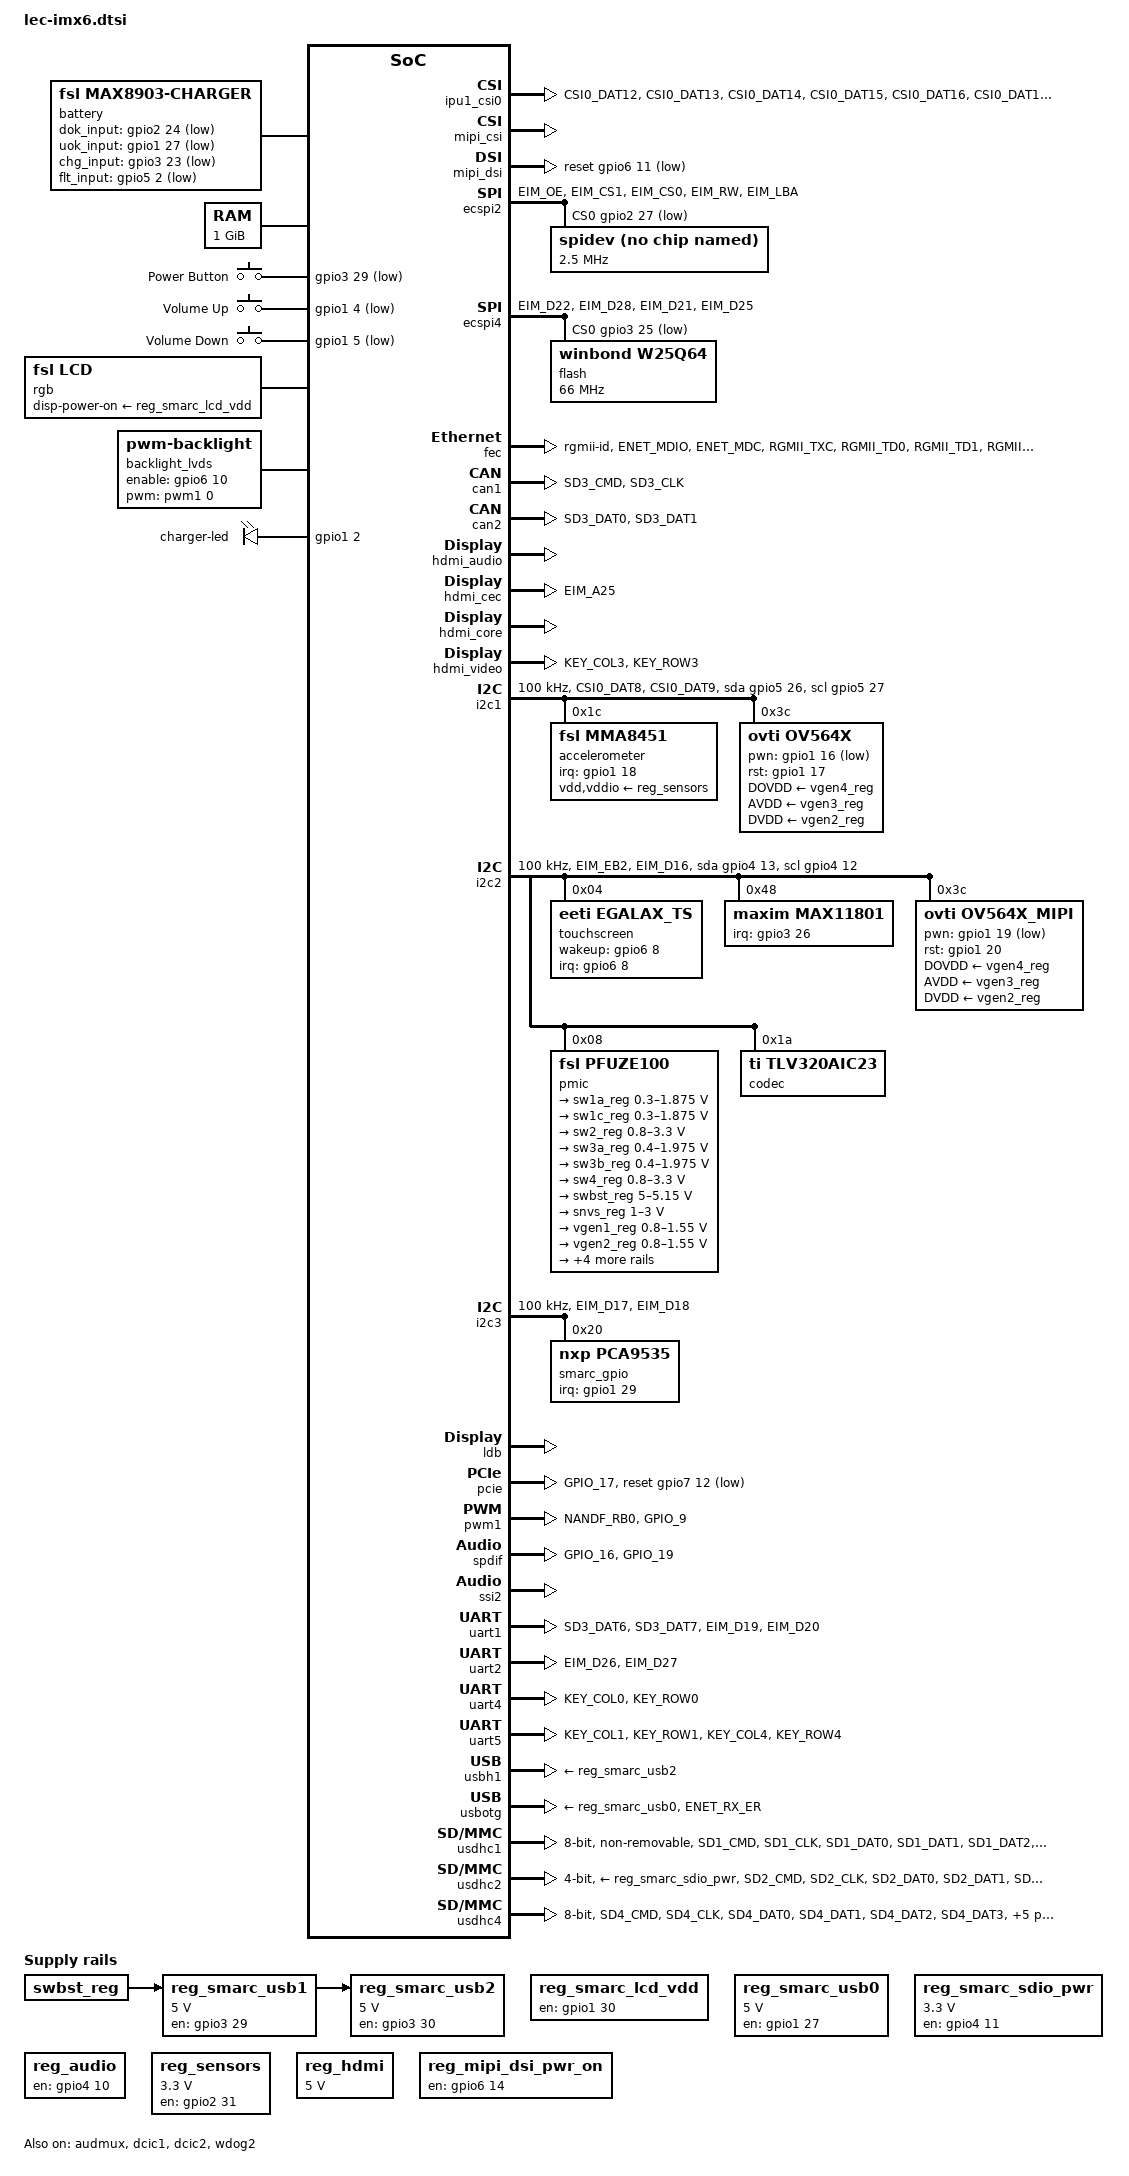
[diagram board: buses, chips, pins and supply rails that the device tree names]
// SPDX-License-Identifier: GPL-2.0+
//
// Copyright 2012 Freescale Semiconductor, Inc.
// Copyright 2011 Linaro Ltd.

/* On-module multiplexer: 0 enables SMARC SPI0, !=0 enables I2S0 instead:
 * 1=TI TLV320AIC23 on LEC-Base R1 carrier, 2=Freescale SGTL5000 on LEC-Base R2 */
#define CONFIG_I2S_AUDIO       1

#include <dt-bindings/clock/imx6qdl-clock.h>
#include <dt-bindings/gpio/gpio.h>
#include <dt-bindings/input/input.h>

/ {
	aliases {
		mxcfb0 = &mxcfb1;
		mxcfb1 = &mxcfb2;
		mxcfb2 = &mxcfb3;
	};

	chosen {
		stdout-path = &uart1;
	};

	battery: max8903@0 {
		compatible = "fsl,max8903-charger";
		pinctrl-names = "default";
		dok_input = <&gpio2 24 1>;
		uok_input = <&gpio1 27 1>;
		chg_input = <&gpio3 23 1>;
		flt_input = <&gpio5 2 1>;
		fsl,dcm_always_high;
		fsl,dc_valid;
		fsl,usb_valid;
		status = "okay";
	};

	memory: memory@10000000 {
		device_type = "memory";
		reg = <0x10000000 0x40000000>;
	};

	reg_smarc_lcd_vdd: regulator-smarc-lcd-vdd {
		compatible = "regulator-fixed";
		regulator-name = "smarc_lcd_vdd";
		gpio = <&gpio1 30 GPIO_ACTIVE_HIGH>; /* SMARC LCD_VDD_EN */
		enable-active-high;
		regulator-always-on; /* Freescale's fb/lcd/ldb drivers can't control a regulator yet :-( */
		regulator-state-mem { regulator-off-in-suspend; }; /* no effect? */
	};

	reg_smarc_usb0: regulator-smarc-usb0 {
		compatible = "regulator-fixed";
		regulator-name = "smarc_usb0";
		regulator-min-microvolt = <5000000>;
		regulator-max-microvolt = <5000000>;
		gpio = <&gpio1 27 GPIO_ACTIVE_HIGH>;	/* SMARC USB0_EN_OC# */
		enable-active-high;
	};

	reg_smarc_usb1: regulator-smarc-usb1 {
		compatible = "regulator-fixed";
		regulator-name = "smarc_usb1";
		regulator-min-microvolt = <5000000>;
		regulator-max-microvolt = <5000000>;
		gpio = <&gpio3 29 GPIO_ACTIVE_HIGH>;	/* SMARC USB1_EN_OC# */
		enable-active-high;
		/* Before enabling Vbus on the carrier power up the host phy's Vbus. */
		vin-supply = <&swbst_reg>;
	};

	reg_smarc_usb2: regulator-smarc-usb2 {
		compatible = "regulator-fixed";
		regulator-name = "smarc_usb2";
		regulator-min-microvolt = <5000000>;
		regulator-max-microvolt = <5000000>;
		gpio = <&gpio3 30 GPIO_ACTIVE_HIGH>; /* SMARC USB2_EN_OC# */
		enable-active-high;
		/* An on-module hub splits the i.MX6's usbh1 port into SMARC USB1 and 2.
		 * Devices on both are powered independently, via reg_smarc_usb1 and 2.
		 * But I've seen no way to model the hub in the device tree and usbh1
		 * takes only 1 "vbus-supply" line. So by declaring one as vin-supply
		 * for the other we trick usbh1 into enabling both. If someone needed to
		 * enable them separately they'd have to do it manually in user mode. */
		vin-supply = <&reg_smarc_usb1>;
	};

	reg_smarc_sdio_pwr: regulator-smarc-sdio-pwr {
		compatible = "regulator-fixed";
		regulator-name = "smarc_sdio_pwr";
		regulator-min-microvolt = <3300000>;
		regulator-max-microvolt = <3300000>;
		gpio = <&gpio4 11 GPIO_ACTIVE_HIGH>; /* SMARC SDIO_PWR_EN */
		enable-active-high;
		regulator-boot-on;
	};

	reg_audio: regulator-audio {
		compatible = "regulator-fixed";
		regulator-name = "wm8962-supply";
		gpio = <&gpio4 10 GPIO_ACTIVE_HIGH>;
		enable-active-high;
	};

	reg_sensors: regulator-sensors {
		compatible = "regulator-fixed";
		pinctrl-names = "default";
		pinctrl-0 = <&pinctrl_sensors_reg>;
		regulator-name = "sensors-supply";
		regulator-min-microvolt = <3300000>;
		regulator-max-microvolt = <3300000>;
		gpio = <&gpio2 31 GPIO_ACTIVE_HIGH>;
		enable-active-high;
	};

#if CONFIG_I2S_AUDIO == 2
	/* Power supplies on the LEC-Base R2 carrier. They cannot be
	 * controlled, but the SGTL5000 driver won't work without
	 * regulator definitions. */
	reg_base_1v8: regulator-base-1v8 {
		compatible = "regulator-fixed";
		regulator-name = "base_1v8";
		regulator-min-microvolt = <1800000>;
		regulator-max-microvolt = <1800000>;
		regulator-boot-on;
		regulator-always-on;
	};

	reg_base_3v3: regulator-base-3v3 {
		compatible = "regulator-fixed";
		regulator-name = "base_3v3";
		regulator-min-microvolt = <3300000>;
		regulator-max-microvolt = <3300000>;
		regulator-boot-on;
		regulator-always-on;
	};
#endif

    reg_hdmi: regulator-hdmi {
		compatible = "regulator-fixed";
		regulator-name = "hdmi-5v-supply";
		regulator-min-microvolt = <5000000>;
		regulator-max-microvolt = <5000000>;
		enable-active-high;
		hdmi-5v-supply = <&swbst_reg>;
    };

	reg_mipi_dsi_pwr_on: mipi_dsi_pwr_on {
		compatible = "regulator-fixed";
		regulator-name = "mipi_dsi_pwr_on";
		gpio = <&gpio6 14 0>;
		enable-active-high;
	};

	gpio-keys {
		compatible = "gpio-keys";
		pinctrl-names = "default";
		pinctrl-0 = <&pinctrl_gpio_keys>;

		power {
			label = "Power Button";
			gpios = <&gpio3 29 GPIO_ACTIVE_LOW>;
			wakeup-source;
			linux,code = <KEY_POWER>;
		};

		volume-up {
			label = "Volume Up";
			gpios = <&gpio1 4 GPIO_ACTIVE_LOW>;
			wakeup-source;
			linux,code = <KEY_VOLUMEUP>;
		};

		volume-down {
			label = "Volume Down";
			gpios = <&gpio1 5 GPIO_ACTIVE_LOW>;
			wakeup-source;
			linux,code = <KEY_VOLUMEDOWN>;
		};
	};

#if CONFIG_I2S_AUDIO == 1
	sound-i2s {     /* Audio codec on LEC-Base R1 carrier */
		compatible = "fsl,imx-audio-tlv320aic23";
		model = "imx-tlv320aic23";
		ssi-controller = <&ssi2>;
		mux-int-port = <2>;
		mux-ext-port = <3>;
		audio-codec = <&codec>;
	};
#elif CONFIG_I2S_AUDIO == 2
	sound-i2s {     /* Audio codec on LEC-Base R2 carrier */
		compatible = "fsl,imx-audio-sgtl5000";
		model = "imx-sgtl5000";
		ssi-controller = <&ssi2>;
		mux-int-port = <2>;
		mux-ext-port = <3>;
		audio-codec = <&codec>;
		asrc-controller = <&asrc>;
		audio-routing =
			"MIC_IN", "Mic Jack",
			"Mic Jack", "Mic Bias",
			"LINE_IN", "Line In Jack",
			//      "Headphone Jack", "HP_OUT",
			"Line Out Jack", "LINE_OUT";
	};
#endif

	sound-hdmi {
		compatible = "fsl,imx6q-audio-hdmi",
			     "fsl,imx-audio-hdmi";
		model = "imx-audio-hdmi";
		hdmi-controller = <&hdmi_audio>;
	};

	sound-spdif {
		compatible = "fsl,imx-audio-spdif";
		model = "imx-spdif";
		spdif-controller = <&spdif>;
		spdif-in;
		spdif-out;
	};

	mxcfb1: fb@0 {	/* IPU1 DI1: /dev/fb0=HDMI, fb1=IPU1's overlay */
		compatible = "fsl,mxc_sdc_fb";
		disp_dev = "hdmi";
		interface_pix_fmt = "RGB24";
		mode_str ="1920x1080M@60";
		default_bpp = <32>;
		int_clk = <0>;
		late_init = <0>;
		status = "okay";
	};

	mxcfb2: fb@1 {	/* IPU1 DI0: /dev/fb2=parallel RGB */
		compatible = "fsl,mxc_sdc_fb";
		disp_dev = "lcd";
		interface_pix_fmt = "RGB24";
		mode_str ="CLAA-WVGA";
		default_bpp = <32>;
		int_clk = <0>;
		late_init = <0>;
		status = "okay";
	};

	mxcfb3: fb@2 {	/* IPU2 DI0: /dev/fb3=LVDS, fb4=IPU2's overlay
			* Solo/DL: IPU1, fb2 competing with par. RGB, no overlay */
		compatible = "fsl,mxc_sdc_fb";
		disp_dev = "ldb";
		interface_pix_fmt = "RGB24";
		default_bpp = <32>;
		int_clk = <0>;
		late_init = <0>;
		status = "okay";
	};

	rgb: lcd@0 {	/* parallel RGB (see fb above) */
		compatible = "fsl,lcd";
		ipu_id = <0>;
		disp_id = <0>;
		default_ifmt = "RGB24";
		pinctrl-names = "default";
		pinctrl-0 = <&pinctrl_ipu1>;
		disp-power-on-supply = <&reg_smarc_lcd_vdd>; /* unsupported by driver */
		status = "okay";
	};

	backlight_lvds: backlight-lvds {
		compatible = "pwm-backlight";
		pwms = <&pwm1 0 5000000>;
		brightness-levels = <0 4 8 16 32 64 128 255>;
		default-brightness-level = <6>;
		enable-gpios = <&gpio6 10 GPIO_ACTIVE_HIGH>; /* SMARC LCD_BKLT_EN */
		status = "okay";
	};

	leds {
		compatible = "gpio-leds";
		pinctrl-names = "default";
		pinctrl-0 = <&pinctrl_gpio_leds>;

		charger-led {
			gpios = <&gpio1 2 0>;
			linux,default-trigger = "max8903-charger-charging";
			retain-state-suspended;
			default-state = "off";
		};
	};

	v4l2_cap_0 {
		compatible = "fsl,imx6q-v4l2-capture";
		ipu_id = <0>;
		csi_id = <0>;
		mclk_source = <0>;
		status = "okay";
	};

	v4l2_cap_1 {
		compatible = "fsl,imx6q-v4l2-capture";
		ipu_id = <0>;
		csi_id = <1>;
		mclk_source = <0>;
		status = "okay";
	};

	v4l2_out {
		compatible = "fsl,mxc_v4l2_output";
		status = "okay";
	};
};

&ipu1_csi0_from_ipu1_csi0_mux {
	bus-width = <8>;
	data-shift = <12>; /* Lines 19:12 used */
	hsync-active = <1>;
	vsync-active = <1>;
};

&ipu1_csi0_mux_from_parallel_sensor {
#if 0
	remote-endpoint = <&ov5642_to_ipu1_csi0_mux>;
#endif
};

&ipu1_csi0 {
	pinctrl-names = "default";
	pinctrl-0 = <&pinctrl_ipu1_csi0>;
};

&mipi_csi {
	status = "okay";

	ipu_id = <0>;
	csi_id = <1>;
	v_channel = <0>;
	lanes = <2>;
#if 0
	port@0 {
		reg = <0>;

		mipi_csi2_in: endpoint {
			remote-endpoint = <&ov5640_to_mipi_csi2>;
			clock-lanes = <0>;
			data-lanes = <1 2>;
		};
	};
#endif
};

&mipi_dsi {
        dev_id = <0>;
        disp_id = <1>;
        lcd_panel = "TRULY-WVGA";
        disp-power-on-supply = <&reg_mipi_dsi_pwr_on>;
        reset-gpios = <&gpio6 11 GPIO_ACTIVE_LOW>;
        reset-delay-us = <50>;
        status = "okay";
};

#if CONFIG_I2S_AUDIO
&audmux {	/* SMARC I2S0 (instead of SPI0) */
	pinctrl-names = "default";
	pinctrl-0 = <&pinctrl_audmux>;
	pinctrl-assert-gpios = <&gpio1 3 GPIO_ACTIVE_HIGH>; /* AEN# */
	status = "okay";
};
#endif

&clks {
	assigned-clocks = <&clks IMX6QDL_CLK_LDB_DI0_SEL>,	/*LVDS*/
			  <&clks IMX6QDL_CLK_LDB_DI1_SEL>;	/*unused*/
	assigned-clock-parents = <&clks IMX6QDL_CLK_PLL2_PFD0_352M>,
				 <&clks IMX6QDL_CLK_PLL2_PFD0_352M>;
};

&dcic1 {
	dcic_id = <0>;
	dcic_mux = "dcic-hdmi";
	status = "okay";
};

&dcic2 {
	dcic_id = <1>;
	dcic_mux = "dcic-lvds0";
	status = "okay";
};

#if !CONFIG_I2S_AUDIO
&ecspi1 {	/* SMARC SPI0 (instead of I2S0) */
	fsl,spi-num-chipselects = <2>;
	cs-gpios = <&gpio5 25 GPIO_ACTIVE_LOW>, /* SMARC CS0 */
		   <&gpio3 24 GPIO_ACTIVE_LOW>; /* SMARC CS1 */
	pinctrl-names = "default";
	pinctrl-0 = <&pinctrl_ecspi1>;
	pinctrl-assert-gpios = <&gpio1 3 GPIO_ACTIVE_LOW>; /* AEN# */
	status = "okay";

	tsc2046@0 {             /* Touch screen controller on LEC-Base R1 carrier */
		compatible = "ti,tsc2046";
		reg = <0>;
		vcc-supply = <&reg_smarc_lcd_vdd>;
		spi-max-frequency = <2500000>;
		interrupt-parent = <&smarc_gpio>;
		interrupts = <10 IRQ_TYPE_EDGE_FALLING>; /* SMARC GPIO10 */
		pendown-gpio = <&smarc_gpio 10 GPIO_ACTIVE_LOW>;
		ti,vref-mv = /bits/ 16 <3300>;
	};
};
#endif

&ecspi2 {	/* SMARC SPI1 */
	fsl,spi-num-chipselects = <2>;
	cs-gpios = <&gpio2 27 GPIO_ACTIVE_LOW>, /* SMARC CS0 */
		<&gpio2 26 GPIO_ACTIVE_LOW>; /* SMARC CS1 */
	pinctrl-names = "default";
	pinctrl-0 = <&pinctrl_ecspi2>;
	status = "okay";

	spidev:spidev@0 {
		status = "okay";
		compatible = "linux,spidev";
		spi-max-frequency = <2500000>;
		reg = <0>;
	};
};

&ecspi4 {	/* on-module U-Boot SPI */
	fsl,spi-num-chipselects = <1>;
	cs-gpios = <&gpio3 25 GPIO_ACTIVE_LOW>;
	pinctrl-names = "default";
	pinctrl-0 = <&pinctrl_ecspi4>;
	fsl,clk-workaround-freq = <30000000>;
	status = "okay";

	flash: m25p80@0 {
		#address-cells = <1>;
		#size-cells = <1>;
		compatible = "winbond,w25q64";
		spi-max-frequency = <66000000>; /* slowest we used was SST25VF032B; i.MX6 provides 60MHz max */
		reg = <0>;
		m25p,fast-read;
	};
};

&fec {
	pinctrl-names = "default";
	pinctrl-0 = <&pinctrl_enet>;
	phy-mode = "rgmii-id";
	phy-reset-gpios = <&gpio1 25 GPIO_ACTIVE_LOW>;	/* RGMII_nRST */
	/* Can't power off phy because sw2_reg is permanently needed. We could
	 * turn off i.MX6's NVCC_RGMII (I/O voltage) only, but that's risky when
	 * the phy remains powered. */
	//phy-supply = <&vgen1_reg>;
	fsl,magic-packet;
	status = "okay";
};

&can1 {
	pinctrl-names = "default";
	pinctrl-0 = <&pinctrl_flexcan1>;
	//trx-nerr-gpio = <&smarc_gpio 8 GPIO_ACTIVE_LOW>; /* SMARC GPIO8/CAN0_ERR#, unused on LEC-Base carrier */
	//trx-stby-gpio = <&carrier_misc_control 1 GPIO_ACTIVE_HIGH>; /* CAN1_STB, solder jumper not populated */
	status = "okay";
};

&can2 {
	pinctrl-names = "default";
	pinctrl-0 = <&pinctrl_flexcan2>;
	//trx-nerr-gpio = <&smarc_gpio 9 GPIO_ACTIVE_LOW>; /* SMARC GPIO9/CAN1_ERR#, unused on LEC-Base carrier */
	//trx-stby-gpio = <&carrier_misc_control 2 GPIO_ACTIVE_HIGH>; /* CAN2_STB, solder jumper not populated */
	status = "okay";
};

&gpc {
	fsl,ldo-bypass = <1>;
};

&hdmi_audio {
	status = "okay";
};

&hdmi_cec {
	pinctrl-names = "default";
	pinctrl-0 = <&pinctrl_hdmi_cec>;
	status = "okay";
};

&hdmi_core {	/* HDMI (see fb above) */
	ipu_id = <0>;
	disp_id = <1>;
	status = "okay";
};

&hdmi_video {
	fsl,phy_reg_vlev = <0x294>;
	fsl,phy_reg_cksymtx = <0x800d>;
	pinctrl-names = "default";
	pinctrl-0 = <&pinctrl_hdmi_hdcp>;
	fsl,hdcp; /* also means we use the dedicated DDC function */
	fsl,phy_reg_vlev = <0x03f4>;
	fsl,phy_reg_cksymtx = <0x800f>;
	/* In the list of predefined video modes include any provided by the
	 * monitor's EDID data instead of only a few found in mxc_edid.c:
	 * mxc_cea_mode[].
	 * With this enabled we got an HDMI TV's native resolution instead of a
	 * blurry interpolated image. On the downside HDMI audio sounded
	 * distorted and parallel RGB, which shared the same i.MX6 IPU, then
	 * failed to work properly. We don't know if this is an i.MX6 hardware
	 * limitation or a bug in Freescale's driver. Regardless of this option
	 * fbset can set any timing manually. */
	//fsl,allow-all-modes;
	HDMI-supply = <&reg_hdmi>;
	status = "okay";
};

&i2c1 {
	clock-frequency = <100000>;
	pinctrl-names = "default", "gpio";
	pinctrl-0 = <&pinctrl_i2c1>;
	pinctrl-1 = <&pinctrl_i2c1_gpio>;
	scl-gpios = <&gpio5 27 GPIO_ACTIVE_HIGH>;
	sda-gpios = <&gpio5 26 GPIO_ACTIVE_HIGH>;
	status = "okay";

	accelerometer@1c {
		compatible = "fsl,mma8451";
		reg = <0x1c>;
		pinctrl-names = "default";
		pinctrl-0 = <&pinctrl_i2c1_mma8451_int>;
		interrupt-parent = <&gpio1>;
		interrupts = <18 IRQ_TYPE_LEVEL_LOW>;
		vdd-supply = <&reg_sensors>;
		vddio-supply = <&reg_sensors>;
	};

#if 0
	ov5642: camera@3c {
		compatible = "ovti,ov5642";
		pinctrl-names = "default";
		pinctrl-0 = <&pinctrl_ov5642>;
		clocks = <&clks IMX6QDL_CLK_CKO>;
		clock-names = "xclk";
		reg = <0x3c>;
		DOVDD-supply = <&vgen4_reg>; /* 1.8v */
		AVDD-supply = <&vgen3_reg>;  /* 2.8v, rev C board is VGEN3
						rev B board is VGEN5 */
		DVDD-supply = <&vgen2_reg>;  /* 1.5v*/
		powerdown-gpios = <&gpio1 16 GPIO_ACTIVE_HIGH>;
		reset-gpios = <&gpio1 17 GPIO_ACTIVE_LOW>;
		status = "disabled";

		port {
			ov5642_to_ipu1_csi0_mux: endpoint {
				remote-endpoint = <&ipu1_csi0_mux_from_parallel_sensor>;
				bus-width = <8>;
				hsync-active = <1>;
				vsync-active = <1>;
			};
		};
	};
#endif
	ov564x: ov564x@3c {
		compatible = "ovti,ov564x";
		reg = <0x3c>;
		pinctrl-names = "default";
		pinctrl-0 = <&pinctrl_ipu1_2>;
		clocks = <&clks IMX6QDL_CLK_CKO>;
		clock-names = "csi_mclk";
		DOVDD-supply = <&vgen4_reg>; /* 1.8v */
		AVDD-supply = <&vgen3_reg>;  /* 2.8v, on rev C board is VGEN3, on rev B board is VGEN5 */
		DVDD-supply = <&vgen2_reg>;  /* 1.5v*/
		pwn-gpios = <&gpio1 16 1>;   /* active low: SD1_DAT0 */
		rst-gpios = <&gpio1 17 0>;   /* active high: SD1_DAT1 */
		csi_id = <0>;
		mclk = <24000000>;
		mclk_source = <0>;
	};
};

&i2c2 {
	clock-frequency = <100000>;
	pinctrl-names = "default", "gpio";
	pinctrl-0 = <&pinctrl_i2c2>;
	pinctrl-1 = <&pinctrl_i2c2_gpio>;
	scl-gpios = <&gpio4 12 GPIO_ACTIVE_HIGH>;
	sda-gpios = <&gpio4 13 GPIO_ACTIVE_HIGH>;
	status = "okay";

	touchscreen@4 {
		compatible = "eeti,egalax_ts";
		reg = <0x04>;
		pinctrl-names = "default";
		pinctrl-0 = <&pinctrl_i2c2_egalax_int>;
		interrupt-parent = <&gpio6>;
		interrupts = <8 IRQ_TYPE_EDGE_FALLING>;
		wakeup-gpios = <&gpio6 8 GPIO_ACTIVE_HIGH>;
	};

	max11801@48 {
		compatible = "maxim,max11801";
		reg = <0x48>;
		interrupt-parent = <&gpio3>;
		interrupts = <26 2>;
		work-mode = <1>;/*DCM mode*/
	};

#if 0
	ov5640: camera@3c {
		compatible = "ovti,ov5640";
		pinctrl-names = "default";
		pinctrl-0 = <&pinctrl_ov5640>;
		reg = <0x3c>;
		clocks = <&clks IMX6QDL_CLK_CKO>;
		clock-names = "xclk";
		DOVDD-supply = <&vgen4_reg>; /* 1.8v */
		AVDD-supply = <&vgen3_reg>;  /* 2.8v, rev C board is VGEN3
						rev B board is VGEN5 */
		DVDD-supply = <&vgen2_reg>;  /* 1.5v*/
		powerdown-gpios = <&gpio1 19 GPIO_ACTIVE_HIGH>;
		reset-gpios = <&gpio1 20 GPIO_ACTIVE_LOW>;

		port {
			ov5640_to_mipi_csi2: endpoint {
				remote-endpoint = <&mipi_csi2_in>;
				clock-lanes = <0>;
				data-lanes = <1 2>;
			};
		};
	};
#endif

	ov564x_mipi: ov564x_mipi@3c { /* i2c2 driver */
		compatible = "ovti,ov564x_mipi";
		reg = <0x3c>;
		clocks = <&clks IMX6QDL_CLK_CKO>;
		clock-names = "csi_mclk";
		DOVDD-supply = <&vgen4_reg>; /* 1.8v */
		AVDD-supply = <&vgen3_reg>;  /* 2.8v rev C board is VGEN3 rev B board is VGEN5 */
		DVDD-supply = <&vgen2_reg>;  /* 1.5v*/
		pwn-gpios = <&gpio1 19 1>;   /* active low: SD1_CLK */
		rst-gpios = <&gpio1 20 0>;   /* active high: SD1_DAT2 */
		csi_id = <1>;
		mclk = <24000000>;
		mclk_source = <0>;
	};

	pmic: pfuze100@8 {
		compatible = "fsl,pfuze100";
		reg = <0x08>;

		regulators {
			sw1a_reg: sw1ab {
				regulator-min-microvolt = <300000>;
				regulator-max-microvolt = <1875000>;
				regulator-boot-on;
				regulator-always-on;
				regulator-ramp-delay = <6250>;
			};

			sw1c_reg: sw1c {
				regulator-min-microvolt = <300000>;
				regulator-max-microvolt = <1875000>;
				regulator-boot-on;
				regulator-always-on;
				regulator-ramp-delay = <6250>;
			};

			sw2_reg: sw2 {
				regulator-min-microvolt = <800000>;
				regulator-max-microvolt = <3300000>;
				regulator-boot-on;
				regulator-always-on;
				regulator-ramp-delay = <6250>;
			};

			sw3a_reg: sw3a {
				regulator-min-microvolt = <400000>;
				regulator-max-microvolt = <1975000>;
				regulator-boot-on;
				regulator-always-on;
			};

			sw3b_reg: sw3b {
				regulator-min-microvolt = <400000>;
				regulator-max-microvolt = <1975000>;
				regulator-boot-on;
				regulator-always-on;
			};

			sw4_reg: sw4 {
				regulator-min-microvolt = <800000>;
				regulator-max-microvolt = <3300000>;
				regulator-always-on;
			};

			swbst_reg: swbst {
				regulator-min-microvolt = <5000000>;
				regulator-max-microvolt = <5150000>;
			};

			snvs_reg: vsnvs {
				regulator-min-microvolt = <1000000>;
				regulator-max-microvolt = <3000000>;
				regulator-boot-on;
				regulator-always-on;
			};

			vref_reg: vrefddr {
				regulator-boot-on;
				regulator-always-on;
			};

			vgen1_reg: vgen1 {
				regulator-min-microvolt = <800000>;
				regulator-max-microvolt = <1550000>;
			};

			vgen2_reg: vgen2 {
				regulator-min-microvolt = <800000>;
				regulator-max-microvolt = <1550000>;
			};

			vgen3_reg: vgen3 {
				regulator-min-microvolt = <1800000>;
				regulator-max-microvolt = <3300000>;
			};

			vgen4_reg: vgen4 {
				regulator-min-microvolt = <1800000>;
				regulator-max-microvolt = <3300000>;
				regulator-always-on;
			};

			vgen5_reg: vgen5 {
				regulator-min-microvolt = <1800000>;
				regulator-max-microvolt = <3300000>;
				regulator-always-on;
			};

			vgen6_reg: vgen6 {
				regulator-min-microvolt = <1800000>;
				regulator-max-microvolt = <3300000>;
				regulator-always-on;
			};
		};
	};

#if CONFIG_I2S_AUDIO == 1
	codec: tlv320aic23@1a {         /* Audio codec on LEC-Base R1 carrier */
		compatible = "ti,tlv320aic23";
		reg = <0x1a>;
		clocks = <&clks IMX6QDL_CLK_CKO>; /* SMARC AUDIO_MCK, actually unused on carrier */
		status = "okay";
	};
#endif

#if CONFIG_I2S_AUDIO == 2
	codec: sgtl5000@0a {            /* Audio codec on LEC-Base R2 carrier */
		compatible = "fsl,sgtl5000";
		reg = <0x0a>;
		clocks = <&clks IMX6QDL_CLK_CKO>; /* SMARC AUDIO_MCK, actually unused on carrier */
		VDDA-supply = <&reg_base_3v3>;
		VDDIO-supply = <&reg_base_1v8>;
		VDDD-supply = <&reg_base_1v8>;
		micbias-resistor-k-ohms = <4>;
		micbias-voltage-m-volts = <1250>;
	};
#endif

};

&i2c3 {
	clock-frequency = <100000>;
	pinctrl-names = "default";
	pinctrl-0 = <&pinctrl_i2c3>;
	status = "okay";

	smarc_gpio: pca9535@20 {	/* GPIO expander */
		/* GPIOs 4-6, 8-11 map directly to the SMARC connector's GPIOx.
		 * GPIOs 0-3, 7 are unused unless a solder jumper is changed, per default
		 * SMARC GPIO0-3,7 are provided by the i.MX6 (CAM0/1_PWR/RST#,PCAM_FLD). */
		compatible = "nxp,pca9535";
		reg = <0x20>;
		interrupt-parent = <&gpio1>;
		interrupts = <29 IRQ_TYPE_LEVEL_LOW>; /* GPIO_INT_B */
		gpio-controller;
		#gpio-cells = <2>;
		interrupt-controller;
		#interrupt-cells = <2>;
	};
};

&iomuxc {
	pinctrl-names = "default";
	pinctrl-0 = <&pinctrl_hog>;

	lec-imx6 {
		pinctrl_hog: hoggrp {
			fsl,pins = <
				MX6QDL_PAD_GPIO_0__CCM_CLKO1    0x130b0
				MX6QDL_PAD_NANDF_CLE__GPIO6_IO07 0x1b0b0
				MX6QDL_PAD_ENET_TXD1__GPIO1_IO29 0x80000000 /* GPIO_INT_B */
				MX6QDL_PAD_ENET_TXD0__GPIO1_IO30 0x80000000 /* SMARC LCD_VDD_EN */
				MX6QDL_PAD_ENET_RXD0__GPIO1_IO27 0x80000000 /* SMARC USB0_EN_OC# (open-drain) */
				MX6QDL_PAD_EIM_D29__GPIO3_IO29	0x1a8b0 /* SMARC USB1_EN_OC# (open-drain) */
				MX6QDL_PAD_EIM_D30__GPIO3_IO30	0x1a8b0 /* SMARC USB2_EN_OC# (open-drain) */
				MX6QDL_PAD_KEY_ROW2__GPIO4_IO11	0x80000000 /* SMARC SDIO_PWR_EN */
				MX6QDL_PAD_EIM_D23__GPIO3_IO23 0x80000000
				MX6QDL_PAD_SD3_RST__GPIO7_IO08 0x80000000
				MX6QDL_PAD_NANDF_CS0__GPIO6_IO11 0x80000000
			>;
		};

#if CONFIG_I2S_AUDIO
		pinctrl_audmux: audmuxgrp {	/* SMARC I2S0 (instead of SPI0) */
			fsl,pins = <
				MX6QDL_PAD_CSI0_DAT7__AUD3_RXD		0x130b0
				MX6QDL_PAD_CSI0_DAT4__AUD3_TXC		0x130b0
				MX6QDL_PAD_CSI0_DAT5__AUD3_TXD		0x110b0
				MX6QDL_PAD_CSI0_DAT6__AUD3_TXFS		0x130b0
			>;
		};
#else
		pinctrl_ecspi1: ecspi1grp {
			fsl,pins = <    /* SMARC SPI0 (instead of I2S0) */
				MX6QDL_PAD_CSI0_DAT6__ECSPI1_MISO       0x100b1
				MX6QDL_PAD_CSI0_DAT5__ECSPI1_MOSI       0x100b1
				MX6QDL_PAD_CSI0_DAT4__ECSPI1_SCLK       0x100b1
				MX6QDL_PAD_CSI0_DAT7__GPIO5_IO25        0x1b0b0 /* SMARC CS0 */
				MX6QDL_PAD_EIM_D24__GPIO3_IO24          0x1b0b0 /* SMARC CS1 */
			>;
		};
#endif

		pinctrl_ecspi2: ecspi2grp {
			fsl,pins = <	/* SMARC SPI1 */
				MX6QDL_PAD_EIM_OE__ECSPI2_MISO          0x100b1
				MX6QDL_PAD_EIM_CS1__ECSPI2_MOSI         0x100b1
				MX6QDL_PAD_EIM_CS0__ECSPI2_SCLK         0x100b1
				MX6QDL_PAD_EIM_RW__GPIO2_IO26           0x1b0b0 /* SMARC CS1 */
				MX6QDL_PAD_EIM_LBA__GPIO2_IO27          0x1b0b0 /* SMARC CS0 */
			>;
		};

		pinctrl_ecspi4: ecspi4grp {
			fsl,pins = <	/* on-module U-Boot SPI */
				MX6QDL_PAD_EIM_D22__ECSPI4_MISO         0x100b1
				MX6QDL_PAD_EIM_D28__ECSPI4_MOSI         0x100b1
				MX6QDL_PAD_EIM_D21__ECSPI4_SCLK         0x100b1
				MX6QDL_PAD_EIM_D25__GPIO3_IO25          0x1b0b0 /* CS3 */
			>;
		};

		pinctrl_enet: enetgrp {
			fsl,pins = <
				MX6QDL_PAD_ENET_MDIO__ENET_MDIO		0x1b0b0
				MX6QDL_PAD_ENET_MDC__ENET_MDC		0x1b0b0
				MX6QDL_PAD_RGMII_TXC__RGMII_TXC		0x1b0b8	/* serial resistor added */
				MX6QDL_PAD_RGMII_TD0__RGMII_TD0		0x1b030
				MX6QDL_PAD_RGMII_TD1__RGMII_TD1		0x1b030
				MX6QDL_PAD_RGMII_TD2__RGMII_TD2		0x1b030
				MX6QDL_PAD_RGMII_TD3__RGMII_TD3		0x1b030
				MX6QDL_PAD_RGMII_TX_CTL__RGMII_TX_CTL	0x1b030
				MX6QDL_PAD_ENET_REF_CLK__ENET_TX_CLK	0x1b0b0
				MX6QDL_PAD_RGMII_RXC__RGMII_RXC		0x1b030
				MX6QDL_PAD_RGMII_RD0__RGMII_RD0		0x1b030
				MX6QDL_PAD_RGMII_RD1__RGMII_RD1		0x1b030
				MX6QDL_PAD_RGMII_RD2__RGMII_RD2		0x1b030
				MX6QDL_PAD_RGMII_RD3__RGMII_RD3		0x1b030
				MX6QDL_PAD_RGMII_RX_CTL__RGMII_RX_CTL	0x1b030
				MX6QDL_PAD_ENET_CRS_DV__GPIO1_IO25	0x80000000 /* RGMII_nRST */
				//MX6QDL_PAD_ENET_RXD1__GPIO1_IO26	0x80000000 /* RGMII_INT */
				/* For the workaround improving network latency described in i.MX6
				 * erratum 6687 disable the power button, re-mux as follows and
				 * add "interrupts-extended" as in imx6q-sabresd-enetirq.dts. */
				//MX6QDL_PAD_GPIO_6__ENET_IRQ		0x000b1
			>;
		};

		pinctrl_flexcan1: flexcan1grp {
			fsl,pins = <    /* SMARC CAN0 */
				MX6QDL_PAD_SD3_CMD__FLEXCAN1_TX         0x17059
				MX6QDL_PAD_SD3_CLK__FLEXCAN1_RX         0x17059
			>;
		};

		pinctrl_flexcan2: flexcan2grp {
			fsl,pins = <    /* SMARC CAN1 */
				MX6QDL_PAD_SD3_DAT0__FLEXCAN2_TX        0x17059
				MX6QDL_PAD_SD3_DAT1__FLEXCAN2_RX        0x17059
			>;
		};

		pinctrl_gpio_keys: gpio_keysgrp {
			fsl,pins = <
				MX6QDL_PAD_GPIO_4__GPIO1_IO04  0x1b0b0
				MX6QDL_PAD_GPIO_5__GPIO1_IO05  0x1b0b0
			>;
		};

		pinctrl_hdmi_cec: hdmicecgrp {
			fsl,pins = <
				MX6QDL_PAD_EIM_A25__HDMI_TX_CEC_LINE	0x108b0
			>;
		};

		pinctrl_hdmi_hdcp: hdmihdcpgrp {
			fsl,pins = <
				MX6QDL_PAD_KEY_COL3__HDMI_TX_DDC_SCL 0x4001b8b1
				MX6QDL_PAD_KEY_ROW3__HDMI_TX_DDC_SDA 0x4001b8b1
			>;
		};

		pinctrl_i2c1: i2c1grp {
			fsl,pins = <
				MX6QDL_PAD_CSI0_DAT8__I2C1_SDA		0x4001b8b1
				MX6QDL_PAD_CSI0_DAT9__I2C1_SCL		0x4001b8b1
			>;
		};

		pinctrl_i2c1_gpio: i2c1_gpio_grp {
			fsl,pins = <
				MX6QDL_PAD_CSI0_DAT8__GPIO5_IO26	0x1b0b0
				MX6QDL_PAD_CSI0_DAT9__GPIO5_IO27	0x1b8b0
			>;
		};

		pinctrl_i2c1_mma8451_int: i2c1mma8451intgrp {
			fsl,pins = <
				MX6QDL_PAD_SD1_CMD__GPIO1_IO18		0xb0b1
			>;
		};

		pinctrl_i2c2: i2c2grp {
			fsl,pins = <
				MX6QDL_PAD_EIM_EB2__I2C2_SCL		0x4001b8b1
				MX6QDL_PAD_EIM_D16__I2C2_SDA		0x4001b8b1
			>;
		};

		pinctrl_i2c2_gpio: i2c2_gpio_grp {
			fsl,pins = <
				MX6QDL_PAD_KEY_COL3__GPIO4_IO12		0x1b8b0
				MX6QDL_PAD_KEY_ROW3__GPIO4_IO13		0x1b0b0
			>;
		};

		pinctrl_i2c2_egalax_int: i2c2egalaxintgrp {
			fsl,pins = <
				MX6QDL_PAD_NANDF_ALE__GPIO6_IO08	0x1b0b0
			>;
		};

		pinctrl_i2c3: i2c3grp {
			fsl,pins = <
				MX6QDL_PAD_EIM_D17__I2C3_SCL		0x4001b8b1
				MX6QDL_PAD_EIM_D18__I2C3_SDA		0x4001b8b1
			>;
		};

		pinctrl_i2c3_gpio: i2c3_gpio_grp {
			fsl,pins = <
				MX6QDL_PAD_GPIO_3__GPIO1_IO03		0x1b8b0
				MX6QDL_PAD_GPIO_6__GPIO1_IO06		0x1b0b0
			>;
		};

		pinctrl_i2c3_isl29023_int: i2c3isl29023intgrp {
			fsl,pins = <
				MX6QDL_PAD_EIM_DA9__GPIO3_IO09		0xb0b1
			>;
		};

		pinctrl_i2c3_mag3110_int: i2c3mag3110intgrp {
			fsl,pins = <
				MX6QDL_PAD_EIM_D16__GPIO3_IO16		0xb0b1
			>;
		};

		pinctrl_ipu1: ipu1grp {
			fsl,pins = <
				MX6QDL_PAD_DI0_DISP_CLK__IPU1_DI0_DISP_CLK 0xf1
				MX6QDL_PAD_DI0_PIN15__IPU1_DI0_PIN15       0xf1
				MX6QDL_PAD_DI0_PIN2__IPU1_DI0_PIN02        0xf1
				MX6QDL_PAD_DI0_PIN3__IPU1_DI0_PIN03        0xf1
				MX6QDL_PAD_DI0_PIN4__IPU1_DI0_PIN04        0x80000000
				MX6QDL_PAD_DISP0_DAT0__IPU1_DISP0_DATA00   0xf1
				MX6QDL_PAD_DISP0_DAT1__IPU1_DISP0_DATA01   0xf1
				MX6QDL_PAD_DISP0_DAT2__IPU1_DISP0_DATA02   0xf1
				MX6QDL_PAD_DISP0_DAT3__IPU1_DISP0_DATA03   0xf1
				MX6QDL_PAD_DISP0_DAT4__IPU1_DISP0_DATA04   0xf1
				MX6QDL_PAD_DISP0_DAT5__IPU1_DISP0_DATA05   0xf1
				MX6QDL_PAD_DISP0_DAT6__IPU1_DISP0_DATA06   0xf1
				MX6QDL_PAD_DISP0_DAT7__IPU1_DISP0_DATA07   0xf1
				MX6QDL_PAD_DISP0_DAT8__IPU1_DISP0_DATA08   0xf1
				MX6QDL_PAD_DISP0_DAT9__IPU1_DISP0_DATA09   0xf1
				MX6QDL_PAD_DISP0_DAT10__IPU1_DISP0_DATA10  0xf1
				MX6QDL_PAD_DISP0_DAT11__IPU1_DISP0_DATA11  0xf1
				MX6QDL_PAD_DISP0_DAT12__IPU1_DISP0_DATA12  0xf1
				MX6QDL_PAD_DISP0_DAT13__IPU1_DISP0_DATA13  0xf1
				MX6QDL_PAD_DISP0_DAT14__IPU1_DISP0_DATA14  0xf1
				MX6QDL_PAD_DISP0_DAT15__IPU1_DISP0_DATA15  0xf1
				MX6QDL_PAD_DISP0_DAT16__IPU1_DISP0_DATA16  0xf1
				MX6QDL_PAD_DISP0_DAT17__IPU1_DISP0_DATA17  0xf1
				MX6QDL_PAD_DISP0_DAT18__IPU1_DISP0_DATA18  0xf1
				MX6QDL_PAD_DISP0_DAT19__IPU1_DISP0_DATA19  0xf1
				MX6QDL_PAD_DISP0_DAT20__IPU1_DISP0_DATA20  0xf1
				MX6QDL_PAD_DISP0_DAT21__IPU1_DISP0_DATA21  0xf1
				MX6QDL_PAD_DISP0_DAT22__IPU1_DISP0_DATA22  0xf1
				MX6QDL_PAD_DISP0_DAT23__IPU1_DISP0_DATA23  0xf1
			>;
		};

		pinctrl_ipu1_2: ipu1grp-2 { /* parallel camera */
			fsl,pins = <
				MX6QDL_PAD_CSI0_DAT12__IPU1_CSI0_DATA12    0x80000000
				MX6QDL_PAD_CSI0_DAT13__IPU1_CSI0_DATA13    0x80000000
				MX6QDL_PAD_CSI0_DAT14__IPU1_CSI0_DATA14    0x80000000
				MX6QDL_PAD_CSI0_DAT15__IPU1_CSI0_DATA15    0x80000000
				MX6QDL_PAD_CSI0_DAT16__IPU1_CSI0_DATA16    0x80000000
				MX6QDL_PAD_CSI0_DAT17__IPU1_CSI0_DATA17    0x80000000
				MX6QDL_PAD_CSI0_DAT18__IPU1_CSI0_DATA18    0x80000000
				MX6QDL_PAD_CSI0_DAT19__IPU1_CSI0_DATA19    0x80000000
				MX6QDL_PAD_CSI0_DATA_EN__IPU1_CSI0_DATA_EN 0x80000000
				MX6QDL_PAD_CSI0_PIXCLK__IPU1_CSI0_PIXCLK   0x80000000
				MX6QDL_PAD_CSI0_MCLK__IPU1_CSI0_HSYNC      0x80000000
				MX6QDL_PAD_CSI0_VSYNC__IPU1_CSI0_VSYNC     0x80000000
				MX6QDL_PAD_SD1_DAT1__GPIO1_IO17            0x80000000
				MX6QDL_PAD_SD1_DAT0__GPIO1_IO16            0x80000000
			>;
		};

		pinctrl_ipu1_csi0: ipu1csi0grp {
			fsl,pins = <
				MX6QDL_PAD_CSI0_DAT12__IPU1_CSI0_DATA12    0x1b0b0
				MX6QDL_PAD_CSI0_DAT13__IPU1_CSI0_DATA13    0x1b0b0
				MX6QDL_PAD_CSI0_DAT14__IPU1_CSI0_DATA14    0x1b0b0
				MX6QDL_PAD_CSI0_DAT15__IPU1_CSI0_DATA15    0x1b0b0
				MX6QDL_PAD_CSI0_DAT16__IPU1_CSI0_DATA16    0x1b0b0
				MX6QDL_PAD_CSI0_DAT17__IPU1_CSI0_DATA17    0x1b0b0
				MX6QDL_PAD_CSI0_DAT18__IPU1_CSI0_DATA18    0x1b0b0
				MX6QDL_PAD_CSI0_DAT19__IPU1_CSI0_DATA19    0x1b0b0
				MX6QDL_PAD_CSI0_PIXCLK__IPU1_CSI0_PIXCLK   0x1b0b0
				MX6QDL_PAD_CSI0_MCLK__IPU1_CSI0_HSYNC      0x1b0b0
				MX6QDL_PAD_CSI0_VSYNC__IPU1_CSI0_VSYNC     0x1b0b0
			>;
		};

		pinctrl_ov5640: ov5640grp {
			fsl,pins = <
				MX6QDL_PAD_SD1_DAT2__GPIO1_IO19 0x1b0b0
				MX6QDL_PAD_SD1_CLK__GPIO1_IO20  0x1b0b0
			>;
		};

		pinctrl_ov5642: ov5642grp {
			fsl,pins = <
				MX6QDL_PAD_SD1_DAT0__GPIO1_IO16 0x1b0b0
				MX6QDL_PAD_SD1_DAT1__GPIO1_IO17 0x1b0b0
			>;
		};

		pinctrl_pcie: pciegrp {
			fsl,pins = <
				MX6QDL_PAD_GPIO_17__GPIO7_IO12	0x1b0b0
			>;
		};

		pinctrl_pwm1: pwm1grp {
			fsl,pins = <
				MX6QDL_PAD_NANDF_RB0__GPIO6_IO10	0x80000000 /* SMARC LCD_BKLT_EN */
				MX6QDL_PAD_GPIO_9__PWM1_OUT		0x1b0b1 /* SMARC LCD_BKLT_PWM */
			>;
		};

		pinctrl_sensors_reg: sensorsreggrp {
			fsl,pins = <
				MX6QDL_PAD_EIM_EB3__GPIO2_IO31		0x1b0b0
			>;
		};

		pinctrl_spdif: spdifgrp {
			fsl,pins = <	/* SMARC SPDIF_IN/OUT */
				MX6QDL_PAD_GPIO_16__SPDIF_IN            0x1b0b0
				MX6QDL_PAD_GPIO_19__SPDIF_OUT           0x1b0b0
			>;
		};

		pinctrl_uart1: uart1grp {
                       fsl,pins = <    /* SMARC SER0 */
				MX6QDL_PAD_SD3_DAT6__UART1_RX_DATA      0x1b0b1
				MX6QDL_PAD_SD3_DAT7__UART1_TX_DATA      0x1b0b1
				MX6QDL_PAD_EIM_D19__UART1_CTS_B         0x1b0b1
				MX6QDL_PAD_EIM_D20__UART1_RTS_B         0x1b0b1
			>;
		};

		pinctrl_uart2: uart2grp {
			fsl,pins = <    /* SMARC SER1 */
				MX6QDL_PAD_EIM_D26__UART2_TX_DATA       0x1b0b1
				MX6QDL_PAD_EIM_D27__UART2_RX_DATA       0x1b0b1
			>;
		};

		pinctrl_uart4: uart4grp {
			fsl,pins = <    /* SMARC SER3 */
				MX6QDL_PAD_KEY_COL0__UART4_TX_DATA      0x1b0b1
				MX6QDL_PAD_KEY_ROW0__UART4_RX_DATA      0x1b0b1
			>;
		};

		pinctrl_uart5: uart5grp {
			fsl,pins = <    /* SMARC SER2 */
				MX6QDL_PAD_KEY_COL1__UART5_TX_DATA	0x1b0b1
				MX6QDL_PAD_KEY_ROW1__UART5_RX_DATA	0x1b0b1
				MX6QDL_PAD_KEY_COL4__UART5_RTS_B	0x1b0b1
				MX6QDL_PAD_KEY_ROW4__UART5_CTS_B	0x1b0b1
			>;
		};

		pinctrl_usbotg: usbotggrp {
			fsl,pins = <	/* SMARC USB0 */
				MX6QDL_PAD_ENET_RX_ER__USB_OTG_ID	0x17059
			>;
		};

		pinctrl_usdhc1: usdhc1grp {
			fsl,pins = <    /* on-module eMMC */
				MX6QDL_PAD_SD1_CMD__SD1_CMD             0x17059
				MX6QDL_PAD_SD1_CLK__SD1_CLK             0x10059
				MX6QDL_PAD_SD1_DAT0__SD1_DATA0          0x17059
				MX6QDL_PAD_SD1_DAT1__SD1_DATA1          0x17059
				MX6QDL_PAD_SD1_DAT2__SD1_DATA2          0x17059
				MX6QDL_PAD_SD1_DAT3__SD1_DATA3          0x17059
				MX6QDL_PAD_NANDF_D0__SD1_DATA4          0x17059
				MX6QDL_PAD_NANDF_D1__SD1_DATA5          0x17059
				MX6QDL_PAD_NANDF_D2__SD1_DATA6          0x17059
				MX6QDL_PAD_NANDF_D3__SD1_DATA7          0x17059
			>;
		};

		pinctrl_usdhc2: usdhc2grp {
			fsl,pins = <	/* SMARC SDIO */
				MX6QDL_PAD_SD2_CMD__SD2_CMD		0x17059
				MX6QDL_PAD_SD2_CLK__SD2_CLK		0x10059
				MX6QDL_PAD_SD2_DAT0__SD2_DATA0		0x17059
				MX6QDL_PAD_SD2_DAT1__SD2_DATA1		0x17059
				MX6QDL_PAD_SD2_DAT2__SD2_DATA2		0x17059
				MX6QDL_PAD_SD2_DAT3__SD2_DATA3		0x17059
				//MX6QDL_PAD_GPIO_4__SD2_CD_B		0x80000000 /* controller internal CD doesn't work */
				MX6QDL_PAD_GPIO_4__GPIO1_IO04		0x80000000 /* SD2_CD_B: mux as GPIO instead */
				MX6QDL_PAD_GPIO_2__SD2_WP		0x80000000
			>;
		};

		pinctrl_usdhc4: usdhc4grp {
			fsl,pins = <	/* SMARC SDMMC */
				MX6QDL_PAD_SD4_CMD__SD4_CMD		0x17059
				MX6QDL_PAD_SD4_CLK__SD4_CLK		0x10059
				MX6QDL_PAD_SD4_DAT0__SD4_DATA0		0x17059
				MX6QDL_PAD_SD4_DAT1__SD4_DATA1		0x17059
				MX6QDL_PAD_SD4_DAT2__SD4_DATA2		0x17059
				MX6QDL_PAD_SD4_DAT3__SD4_DATA3		0x17059
				MX6QDL_PAD_SD4_DAT4__SD4_DATA4		0x17059
				MX6QDL_PAD_SD4_DAT5__SD4_DATA5		0x17059
				MX6QDL_PAD_SD4_DAT6__SD4_DATA6		0x17059
				MX6QDL_PAD_SD4_DAT7__SD4_DATA7		0x17059
				MX6QDL_PAD_NANDF_ALE__SD4_RESET		0x80000000
			>;
		};

		pinctrl_wdog: wdoggrp {
			fsl,pins = <
				MX6QDL_PAD_GPIO_1__WDOG2_B		0x1b0b0
			>;
		};
	};

	gpio_leds {
		pinctrl_gpio_leds: gpioledsgrp {
			fsl,pins = <
				MX6QDL_PAD_GPIO_2__GPIO1_IO02 0x1b0b0
			>;
		};
	};
};

&ldb {
	status = "okay";

	lvds-channel@0 {
		fsl,data-mapping = "spwg";	/* spwg or jeida (see chapter "Bit Mapping" in i.MX6 Reference Manual) */
		fsl,data-width = <24>;
		primary;
		status = "okay";

		display-timings {
			native-mode = <&timing0>;
			timing0: hsd100pxn1 {
				clock-frequency = <65000000>;
				hactive = <1024>;
				vactive = <600>;
				hback-porch = <220>;
				hfront-porch = <40>;
				vback-porch = <21>;
				vfront-porch = <7>;
				hsync-len = <60>;
				vsync-len = <10>;
			};
		};
	};
};

&pcie {
	pinctrl-names = "default";
	pinctrl-0 = <&pinctrl_pcie>;
	reset-gpio = <&gpio7 12 GPIO_ACTIVE_LOW>;
	epdev_on-supply = <&vgen3_reg>;
	status = "okay";
};

&pwm1 {	/* SMARC LCD_BKLT_PWM */
	pinctrl-names = "default";
	pinctrl-0 = <&pinctrl_pwm1>;
	status = "okay";
};

&reg_arm {
       vin-supply = <&sw1a_reg>;
};

&reg_pu {
       vin-supply = <&sw1c_reg>;
};

&reg_soc {
       vin-supply = <&sw1c_reg>;
};

&reg_vdd1p1 {
	vin-supply = <&vgen5_reg>;
};

&reg_vdd2p5 {
	vin-supply = <&vgen5_reg>;
};

&snvs_poweroff {
	status = "okay";
};

&spdif {	/* SMARC SPDIF_IN/OUT */
	pinctrl-names = "default";
	pinctrl-0 = <&pinctrl_spdif>;
	assigned-clocks = <&clks IMX6QDL_CLK_SPDIF_SEL>, <&clks IMX6QDL_CLK_SPDIF_PODF>;
	assigned-clock-parents = <&clks IMX6QDL_CLK_PLL3_PFD3_454M>;
	assigned-clock-rates = <0>, <227368421>;
	status = "okay";
};

#if CONFIG_I2S_AUDIO
&ssi2 {	/* SMARC I2S0 (instead of SPI0) */
	status = "okay";
};
#endif

&uart1 {	/* SMARC SER0 */
	pinctrl-names = "default";
	pinctrl-0 = <&pinctrl_uart1>;
	fsl,uart-has-rtscts;
	status = "okay";
};

&uart2 {       /* SMARC SER1 */
	pinctrl-names = "default";
	pinctrl-0 = <&pinctrl_uart2>;
	status = "okay";
};

&uart4 {       /* SMARC SER3 */
	pinctrl-names = "default";
	pinctrl-0 = <&pinctrl_uart4>;
	status = "okay";
};

&uart5 {       /* SMARC SER2 */
	pinctrl-names = "default";
	pinctrl-0 = <&pinctrl_uart5>;
	fsl,uart-has-rtscts;
	status = "okay";
};

&usbh1 {	/* SMARC USB1,2 */
	vbus-supply = <&reg_smarc_usb2>; /* chained with usb1, see above */
	disable-over-current; /* connects to SMARC USB2_EN_OC# but not USB1_ */
	status = "okay";
};

&usbotg {	/* SMARC USB0 */
	vbus-supply = <&reg_smarc_usb0>;
	pinctrl-names = "default";
	pinctrl-0 = <&pinctrl_usbotg>;
	//dr_mode = "peripheral"; /* default is "otg", override with "host" or "peripheral" to set fixed role */
	disable-over-current;
	status = "okay";
};

&usdhc1 {	/* on-module eMMC */
	pinctrl-names = "default";
	pinctrl-0 = <&pinctrl_usdhc1>;
	bus-width = <8>;
	non-removable;
	status = "okay";
};

&usdhc2 {	/* SMARC SDIO */
	pinctrl-0 = <&pinctrl_usdhc2>;
	bus-width = <4>;
	//fsl,cd-controller; /* using controller internal CD doesn't work properly */
	cd-gpios = <&gpio1 4 GPIO_ACTIVE_LOW>; /* need to treat it as GPIO instead */
	fsl,wp-controller;
	vmmc-supply = <&reg_smarc_sdio_pwr>;
	vqmmc-supply = <&reg_smarc_sdio_pwr>;
	status = "okay";
};

&usdhc4 {	/* SMARC SDMMC */
	pinctrl-names = "default";
	pinctrl-0 = <&pinctrl_usdhc4>;
	bus-width = <8>;
	//non-removable; /* eMMC: no polling saves power */
	broken-cd; /* uSD slot on carrier: polling allows switching cards */
	no-1-8-v;
	auto-cmd23-broken;
	status = "okay";
};

&wdog1 {
	status = "disabled";
};

&wdog2 {
	pinctrl-names = "default";
	pinctrl-0 = <&pinctrl_wdog>;
	fsl,ext-reset-output;
	status = "okay";
};
